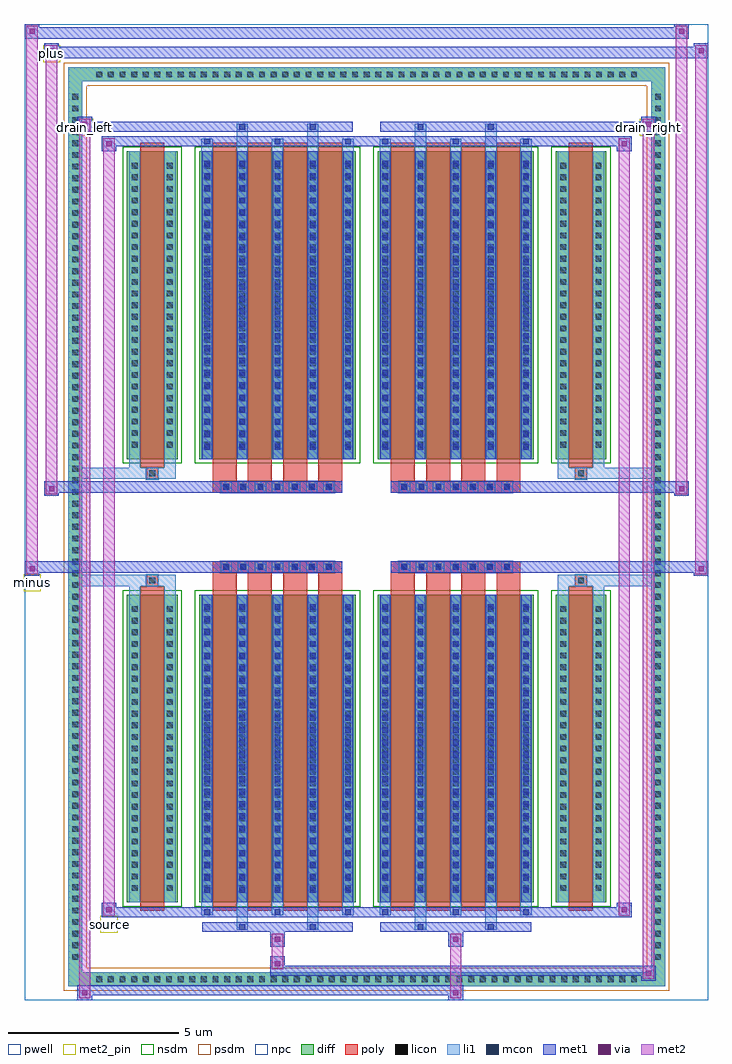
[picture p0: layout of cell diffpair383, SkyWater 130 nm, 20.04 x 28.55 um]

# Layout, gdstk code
import gdstk
lib = gdstk.Library(unit=1e-6, precision=5e-09)
def R(c, l, rs):  # rectangles x0, y0, x1, y1
    for r in rs: c.add(gdstk.rectangle(r[:2], r[2:], *l))
def A(c, l, x, y, w, h, nx, ny, dx, dy):  # array of equal rectangles
    R(c, l, [(x+i*dx, y+j*dy, x+i*dx+w, y+j*dy+h) for i in range(nx) for j in range(ny)])
def P(c, l, *ps):  # polygons
    for p in ps: c.add(gdstk.Polygon(p, *l))
pwell = (64, 44)
diff = (65, 20)
poly = (66, 20)
licon = (66, 44)
li1 = (67, 20)
mcon = (67, 44)
met1 = (68, 20)
via = (68, 44)
met2_pin = (69, 16)
met2 = (69, 20)
nsdm = (93, 44)
psdm = (94, 20)
npc = (95, 20)

diffpair383 = lib.new_cell('diffpair383')
R(diffpair383, pwell, [(-10,-13.84,10,14.71), (-7.32,-12.03,-0.01,-0.805), (0.01,-12.03,7.32,-0.805), (-7.32,0.805,-0.01,12.03), (0.01,0.805,7.32,12.03)])
A(diffpair383, diff, -8.025, -13.44, 0.41, 0.41, 47, 2, 0.34, 26.47)
A(diffpair383, diff, -8.73, -12.785, 0.41, 0.41, 1, 75, 0, 0.34)
A(diffpair383, diff, 8.32, -12.785, 0.41, 0.41, 1, 75, 0, 0.34)
R(diffpair383, diff, [(-8.025,-13.44,8.025,-13.03), (-8.73,-12.785,-8.32,12.785), (8.32,-12.785,8.73,12.785), (-7.01,-10.985,-5.53,-1.985), (-4.89,-10.985,-0.32,-1.985), (0.32,-10.985,4.89,-1.985), (5.53,-10.985,7.01,-1.985), (-7.01,1.985,-5.53,10.985), (-4.89,1.985,-0.32,10.985), (0.32,1.985,4.89,10.985), (5.53,1.985,7.01,10.985), (-8.025,13.03,8.025,13.44)])
P(diffpair383, diff, [(8.73,13.44),(-8.73,13.44),(-8.73,-13.03),(-8.32,-13.03),(-8.32,13.03),(8.32,13.03),(8.32,-13.03),(-8.32,-13.03),(-8.73,-13.03),(-8.73,-13.44),(8.73,-13.44)])
A(diffpair383, poly, -4.5, -11.235, 0.7, 9.5, 4, 2, 1.03, 12.97)
A(diffpair383, poly, 0.71, -11.235, 0.7, 9.5, 4, 2, 1.03, 12.97)
A(diffpair383, poly, -4.5, -1.735, 0.7, 0.4, 4, 2, 1.03, 3.07)
A(diffpair383, poly, 0.71, -1.735, 0.7, 0.4, 4, 2, 1.03, 3.07)
A(diffpair383, poly, -4.27, -1.335, 0.33, 0.33, 7, 2, 0.5, 2.34)
A(diffpair383, poly, 0.94, -1.335, 0.33, 0.33, 7, 2, 0.5, 2.34)
R(diffpair383, poly, [(-6.62,-11.235,-5.92,-1.735), (5.92,-11.235,6.62,-1.735), (-6.435,-1.735,-6.105,-1.405), (-6.435,-1.735,-6.105,-1.405), (6.105,-1.735,6.435,-1.405), (6.105,-1.735,6.435,-1.405), (-4.5,-1.335,-0.71,-1.005), (0.71,-1.335,4.5,-1.005), (-4.5,1.005,-0.71,1.335), (0.71,1.005,4.5,1.335), (-6.435,1.405,-6.105,1.735), (-6.435,1.405,-6.105,1.735), (6.105,1.405,6.435,1.735), (6.105,1.405,6.435,1.735), (-6.62,1.735,-5.92,11.235), (5.92,1.735,6.62,11.235)])
A(diffpair383, licon, -7.905, -13.32, 0.17, 0.17, 47, 2, 0.34, 26.47)
A(diffpair383, licon, -8.61, -12.665, 0.17, 0.17, 1, 75, 0, 0.34)
A(diffpair383, licon, 8.44, -12.665, 0.17, 0.17, 1, 75, 0, 0.34)
A(diffpair383, licon, -6.87, -10.65, 0.17, 0.17, 1, 25, 0, 0.34)
A(diffpair383, licon, -5.84, -10.65, 0.17, 0.17, 1, 25, 0, 0.34)
A(diffpair383, licon, -4.75, -10.65, 0.17, 0.17, 5, 25, 1.03, 0.34)
A(diffpair383, licon, 0.46, -10.65, 0.17, 0.17, 5, 25, 1.03, 0.34)
A(diffpair383, licon, 5.67, -10.65, 0.17, 0.17, 1, 25, 0, 0.34)
A(diffpair383, licon, 6.7, -10.65, 0.17, 0.17, 1, 25, 0, 0.34)
A(diffpair383, licon, -4.19, -1.255, 0.17, 0.17, 7, 2, 0.5, 2.34)
A(diffpair383, licon, 1.02, -1.255, 0.17, 0.17, 7, 2, 0.5, 2.34)
A(diffpair383, licon, -6.87, 2.32, 0.17, 0.17, 1, 25, 0, 0.34)
A(diffpair383, licon, -5.84, 2.32, 0.17, 0.17, 1, 25, 0, 0.34)
A(diffpair383, licon, -4.75, 2.32, 0.17, 0.17, 5, 25, 1.03, 0.34)
A(diffpair383, licon, 0.46, 2.32, 0.17, 0.17, 5, 25, 1.03, 0.34)
A(diffpair383, licon, 5.67, 2.32, 0.17, 0.17, 1, 25, 0, 0.34)
A(diffpair383, licon, 6.7, 2.32, 0.17, 0.17, 1, 25, 0, 0.34)
R(diffpair383, licon, [(-6.355,-1.655,-6.185,-1.485), (6.185,-1.655,6.355,-1.485), (-6.355,1.485,-6.185,1.655), (6.185,1.485,6.355,1.655)])
A(diffpair383, li1, -7.985, -13.4, 0.33, 0.33, 47, 2, 0.34, 26.47)
A(diffpair383, li1, -8.69, -12.745, 0.33, 0.33, 1, 75, 0, 0.34)
A(diffpair383, li1, 8.36, -12.745, 0.33, 0.33, 1, 75, 0, 0.34)
A(diffpair383, li1, -4.83, -11.36, 0.33, 0.375, 3, 2, 2.06, 22.345)
A(diffpair383, li1, -4.75, -11.36, 0.17, 0.17, 3, 2, 2.06, 22.55)
A(diffpair383, li1, 0.38, -11.36, 0.33, 0.375, 3, 2, 2.06, 22.345)
A(diffpair383, li1, 0.46, -11.36, 0.17, 0.17, 3, 2, 2.06, 22.55)
A(diffpair383, li1, -4.83, -10.985, 0.33, 9, 5, 2, 1.03, 12.97)
A(diffpair383, li1, 0.38, -10.985, 0.33, 9, 5, 2, 1.03, 12.97)
A(diffpair383, li1, -6.95, -10.73, 0.33, 0.33, 1, 25, 0, 0.34)
A(diffpair383, li1, -5.92, -10.73, 0.33, 0.33, 1, 25, 0, 0.34)
A(diffpair383, li1, -4.83, -10.73, 0.33, 0.33, 5, 25, 1.03, 0.34)
A(diffpair383, li1, 0.38, -10.73, 0.33, 0.33, 5, 25, 1.03, 0.34)
A(diffpair383, li1, 5.59, -10.73, 0.33, 0.33, 1, 25, 0, 0.34)
A(diffpair383, li1, 6.62, -10.73, 0.33, 0.33, 1, 25, 0, 0.34)
A(diffpair383, li1, -4.75, -10.71, 0.17, 0.17, 5, 24, 1.03, 0.36)
A(diffpair383, li1, -4.75, -10.71, 0.17, 8.45, 5, 2, 1.03, 12.97)
A(diffpair383, li1, 0.46, -10.71, 0.17, 0.17, 5, 24, 1.03, 0.36)
A(diffpair383, li1, 0.46, -10.71, 0.17, 8.45, 5, 2, 1.03, 12.97)
A(diffpair383, li1, -4.27, -1.335, 0.33, 0.33, 7, 2, 0.5, 2.34)
A(diffpair383, li1, 0.94, -1.335, 0.33, 0.33, 7, 2, 0.5, 2.34)
A(diffpair383, li1, -6.95, 2.24, 0.33, 0.33, 1, 25, 0, 0.34)
A(diffpair383, li1, -5.92, 2.24, 0.33, 0.33, 1, 25, 0, 0.34)
A(diffpair383, li1, -4.83, 2.24, 0.33, 0.33, 5, 25, 1.03, 0.34)
A(diffpair383, li1, 0.38, 2.24, 0.33, 0.33, 5, 25, 1.03, 0.34)
A(diffpair383, li1, 5.59, 2.24, 0.33, 0.33, 1, 25, 0, 0.34)
A(diffpair383, li1, 6.62, 2.24, 0.33, 0.33, 1, 25, 0, 0.34)
A(diffpair383, li1, -4.75, 2.26, 0.17, 0.17, 5, 24, 1.03, 0.36)
A(diffpair383, li1, 0.46, 2.26, 0.17, 0.17, 5, 24, 1.03, 0.36)
R(diffpair383, li1, [(-8.73,-13.44,-8.32,-13.03), (-8.73,-13.44,-8.32,-13.03), (-8.32,-13.44,8.32,-13.03), (8.32,-13.44,8.73,-13.03), (8.32,-13.44,8.73,-13.03), (-8.73,-13.03,-8.32,13.03), (8.32,-13.03,8.73,13.03), (-3.8,-11.79,-3.47,-10.985), (-3.72,-11.79,-3.55,-11.62), (-1.74,-11.79,-1.41,-10.985), (-1.66,-11.79,-1.49,-11.62), (1.41,-11.79,1.74,-10.985), (1.49,-11.79,1.66,-11.62), (3.47,-11.79,3.8,-10.985), (3.55,-11.79,3.72,-11.62), (-6.95,-10.985,-6.62,-1.985), (-5.92,-10.985,-5.59,-1.985), (5.59,-10.985,5.92,-1.985), (6.62,-10.985,6.95,-1.985), (-6.95,-1.985,-6.62,-1.405), (-5.92,-1.985,-5.59,-1.405), (5.59,-1.985,5.92,-1.405), (6.62,-1.985,6.95,-1.405), (-8.73,-1.735,-6.435,-1.405), (-6.95,-1.735,-6.435,-1.405), (-6.435,-1.735,-6.105,-1.405), (-6.105,-1.735,-5.59,-1.405), (5.59,-1.735,6.105,-1.405), (6.105,-1.735,6.435,-1.405), (6.105,-1.735,8.73,-1.405), (6.435,-1.735,6.95,-1.405), (-8.73,1.405,-6.435,1.735), (-6.95,1.405,-6.435,1.735), (-6.95,1.405,-6.62,1.985), (-6.435,1.405,-6.105,1.735), (-6.105,1.405,-5.59,1.735), (-5.92,1.405,-5.59,1.985), (5.59,1.405,6.105,1.735), (5.59,1.405,5.92,1.985), (6.105,1.405,6.435,1.735), (6.105,1.405,8.73,1.735), (6.435,1.405,6.95,1.735), (6.62,1.405,6.95,1.985), (-6.95,1.985,-6.62,10.985), (-5.92,1.985,-5.59,10.985), (5.59,1.985,5.92,10.985), (6.62,1.985,6.95,10.985), (-3.8,10.985,-3.47,11.79), (-1.74,10.985,-1.41,11.79), (1.41,10.985,1.74,11.79), (3.47,10.985,3.8,11.79), (-3.72,11.62,-3.55,11.79), (-1.66,11.62,-1.49,11.79), (1.49,11.62,1.66,11.79), (3.55,11.62,3.72,11.79), (-8.73,13.03,-8.32,13.44), (-8.73,13.03,-8.32,13.44), (-8.32,13.03,8.32,13.44), (8.32,13.03,8.73,13.44), (8.32,13.03,8.73,13.44)])
A(diffpair383, mcon, -4.75, -11.36, 0.17, 0.17, 3, 2, 2.06, 22.55)
A(diffpair383, mcon, 0.46, -11.36, 0.17, 0.17, 3, 2, 2.06, 22.55)
A(diffpair383, mcon, -4.75, -10.71, 0.17, 0.17, 5, 24, 1.03, 0.36)
A(diffpair383, mcon, 0.46, -10.71, 0.17, 0.17, 5, 24, 1.03, 0.36)
A(diffpair383, mcon, -4.19, -1.255, 0.17, 0.17, 7, 2, 0.5, 2.34)
A(diffpair383, mcon, 1.02, -1.255, 0.17, 0.17, 7, 2, 0.5, 2.34)
A(diffpair383, mcon, -4.75, 2.26, 0.17, 0.17, 5, 24, 1.03, 0.36)
A(diffpair383, mcon, 0.46, 2.26, 0.17, 0.17, 5, 24, 1.03, 0.36)
R(diffpair383, mcon, [(-3.72,-11.79,-3.55,-11.62), (-1.66,-11.79,-1.49,-11.62), (1.49,-11.79,1.66,-11.62), (3.55,-11.79,3.72,-11.62), (-3.72,11.62,-3.55,11.79), (-1.66,11.62,-1.49,11.79), (1.49,11.62,1.66,11.79), (3.55,11.62,3.72,11.79)])
A(diffpair383, met1, -4.81, -11.42, 0.29, 0.29, 3, 2, 2.06, 22.55)
A(diffpair383, met1, 0.4, -11.42, 0.29, 0.29, 3, 2, 2.06, 22.55)
A(diffpair383, met1, -4.81, -10.985, 0.29, 9, 5, 2, 1.03, 12.97)
A(diffpair383, met1, 0.4, -10.985, 0.29, 9, 5, 2, 1.03, 12.97)
A(diffpair383, met1, -4.81, -10.77, 0.29, 0.29, 5, 24, 1.03, 0.36)
A(diffpair383, met1, 0.4, -10.77, 0.29, 0.29, 5, 24, 1.03, 0.36)
A(diffpair383, met1, -4.25, -1.315, 0.29, 0.29, 7, 2, 0.5, 2.34)
A(diffpair383, met1, 0.96, -1.315, 0.29, 0.29, 7, 2, 0.5, 2.34)
A(diffpair383, met1, -4.81, 2.2, 0.29, 0.29, 5, 24, 1.03, 0.36)
A(diffpair383, met1, 0.4, 2.2, 0.29, 0.29, 5, 24, 1.03, 0.36)
R(diffpair383, met1, [(-8.46,-13.84,-8.03,-13.41), (2.39,-13.84,2.82,-13.41), (-8.46,-13.7,2.82,-13.41), (8.03,-13.27,8.46,-12.84), (-2.82,-13.13,8.46,-12.84), (-2.82,-12.99,-2.39,-12.56), (-2.82,-12.28,-2.39,-11.85), (2.39,-12.28,2.82,-11.85), (-4.81,-11.85,-0.4,-11.56), (-3.78,-11.85,-3.49,-11.56), (-1.72,-11.85,-1.43,-11.56), (0.4,-11.85,4.81,-11.56), (1.43,-11.85,1.72,-11.56), (3.49,-11.85,3.78,-11.56), (-7.75,-11.42,-7.32,-10.99), (-7.75,-11.42,-4.81,-11.13), (-4.81,-11.42,-0.4,-11.13), (-0.4,-11.42,0.4,-11.13), (0.4,-11.42,4.81,-11.13), (4.81,-11.42,7.75,-11.13), (7.32,-11.42,7.75,-10.99), (-10,-1.435,-9.57,-1.005), (9.57,-1.435,10,-1.005), (-10,-1.335,-0.71,-1.005), (-4.5,-1.335,-0.71,-1.005), (0.71,-1.335,4.5,-1.005), (0.71,-1.335,10,-1.005), (-9.43,0.905,-9,1.335), (9,0.905,9.43,1.335), (-9.43,1.005,-4.5,1.335), (-4.5,1.005,-0.71,1.335), (0.71,1.005,4.5,1.335), (4.5,1.005,9.43,1.335), (-7.75,10.99,-7.32,11.42), (7.32,10.99,7.75,11.42), (-7.75,11.13,-4.81,11.42), (-4.81,11.13,-0.4,11.42), (-0.4,11.13,0.4,11.42), (0.4,11.13,4.81,11.42), (4.81,11.13,7.75,11.42), (-8.46,11.56,-8.03,11.99), (-8.46,11.56,-4.81,11.85), (-4.81,11.56,-0.4,11.85), (-3.78,11.56,-3.49,11.85), (-1.72,11.56,-1.43,11.85), (0.4,11.56,4.81,11.85), (1.43,11.56,1.72,11.85), (3.49,11.56,3.78,11.85), (4.81,11.56,8.46,11.85), (8.03,11.56,8.46,11.99), (-9.43,13.71,-9,14.14), (-9.43,13.71,-7.32,14.04), (-7.32,13.71,7.32,14.04), (7.32,13.71,10,14.04), (9.57,13.71,10,14.14), (-10,14.28,-9.57,14.71), (-10,14.28,-7.32,14.61), (-7.32,14.28,7.32,14.61), (7.32,14.28,9.43,14.61), (9,14.28,9.43,14.71)])
R(diffpair383, via, [(-8.32,-13.7,-8.17,-13.55), (2.53,-13.7,2.68,-13.55), (8.17,-13.13,8.32,-12.98), (-2.68,-12.85,-2.53,-12.7), (-2.68,-12.14,-2.53,-11.99), (2.53,-12.14,2.68,-11.99), (-7.61,-11.28,-7.46,-11.13), (7.46,-11.28,7.61,-11.13), (-9.86,-1.295,-9.71,-1.145), (9.71,-1.295,9.86,-1.145), (-9.29,1.045,-9.14,1.195), (9.14,1.045,9.29,1.195), (-7.61,11.13,-7.46,11.28), (7.46,11.13,7.61,11.28), (-8.32,11.7,-8.17,11.85), (8.17,11.7,8.32,11.85), (-9.29,13.85,-9.14,14), (9.71,13.85,9.86,14), (-9.86,14.42,-9.71,14.57), (9.14,14.42,9.29,14.57)])
R(diffpair383, met2_pin, [(-7.785,-11.87,-7.285,-11.37), (-10.035,-1.885,-9.535,-1.385), (-8.495,11.44,-7.995,11.94), (7.995,11.44,8.495,11.94), (-9.465,13.59,-8.965,14.09)])
R(diffpair383, met2, [(-8.41,-13.79,-8.08,-13.46), (-8.41,-13.79,-8.08,11.94), (2.44,-13.79,2.77,-13.46), (2.44,-13.46,2.77,-12.23), (8.08,-13.22,8.41,-12.89), (8.08,-13.22,8.41,11.94), (-2.77,-12.94,-2.44,-12.61), (-2.77,-12.61,-2.44,-12.23), (-2.77,-12.23,-2.44,-11.9), (2.44,-12.23,2.77,-11.9), (-7.7,-11.37,-7.37,-11.04), (-7.7,-11.37,-7.37,11.37), (7.37,-11.37,7.7,-11.04), (7.37,-11.37,7.7,11.37), (-9.95,-1.385,-9.62,-1.055), (-9.95,-1.385,-9.62,14.66), (9.62,-1.385,9.95,-1.055), (9.62,-1.385,9.95,14.09), (-9.38,0.955,-9.05,1.285), (-9.38,0.955,-9.05,14.09), (9.05,0.955,9.38,1.285), (9.05,0.955,9.38,14.66), (-7.7,11.04,-7.37,11.37), (7.37,11.04,7.7,11.37), (-8.41,11.61,-8.08,11.94), (8.08,11.61,8.41,11.94), (-9.38,13.76,-9.05,14.09), (9.62,13.76,9.95,14.09), (-9.95,14.33,-9.62,14.66), (9.05,14.33,9.38,14.66)])
P(diffpair383, met2, [(9.95,-1.385),(9.95,-1.385),(9.95,-1.055),(9.95,-1.055)],
  [(9.95,13.76),(9.95,13.76),(9.95,14.09),(9.95,14.09)],
  [(-9.62,-1.385),(-9.62,-1.385),(-9.62,-1.055),(-9.62,-1.055)],
  [(-9.62,14.33),(-9.62,14.33),(-9.62,14.66),(-9.62,14.66)],
  [(9.38,0.955),(9.38,0.955),(9.38,1.285),(9.38,1.285)],
  [(9.38,14.33),(9.38,14.33),(9.38,14.66),(9.38,14.66)],
  [(-9.05,0.955),(-9.05,0.955),(-9.05,1.285),(-9.05,1.285)],
  [(-9.05,13.76),(-9.05,13.76),(-9.05,14.09),(-9.05,14.09)],
  [(-8.08,-13.79),(-8.08,-13.79),(-8.08,-13.46),(-8.08,-13.46)],
  [(-8.08,11.61),(-8.08,11.61),(-8.08,11.94),(-8.08,11.94)],
  [(8.41,-13.22),(8.41,-13.22),(8.41,-12.89),(8.41,-12.89)],
  [(8.41,11.61),(8.41,11.61),(8.41,11.94),(8.41,11.94)],
  [(-7.37,-11.37),(-7.37,-11.37),(-7.37,-11.04),(-7.37,-11.04)],
  [(-7.37,11.04),(-7.37,11.04),(-7.37,11.37),(-7.37,11.37)],
  [(7.7,-11.37),(7.7,-11.37),(7.7,-11.04),(7.7,-11.04)],
  [(7.7,11.04),(7.7,11.04),(7.7,11.37),(7.7,11.37)])
R(diffpair383, nsdm, [(-7.14,-11.115,-5.4,-1.855), (-5.02,-11.115,-0.19,-1.855), (0.19,-11.115,5.02,-1.855), (5.4,-11.115,7.14,-1.855), (-7.14,1.855,-5.4,11.115), (-5.02,1.855,-0.19,11.115), (0.19,1.855,5.02,11.115), (5.4,1.855,7.14,11.115)])
P(diffpair383, psdm, [(8.86,13.57),(-8.86,13.57),(-8.86,-12.9),(-8.19,-12.9),(-8.19,12.9),(8.19,12.9),(8.19,-12.9),(-8.19,-12.9),(-8.86,-12.9),(-8.86,-13.57),(8.86,-13.57)])
A(diffpair383, npc, -4.29, -1.355, 0.37, 0.37, 7, 2, 0.5, 2.34)
A(diffpair383, npc, 0.92, -1.355, 0.37, 0.37, 7, 2, 0.5, 2.34)
R(diffpair383, npc, [(-6.455,-1.755,-6.085,-1.385), (6.085,-1.755,6.455,-1.385), (-4.29,-1.355,-3.42,-0.985), (-4.29,-1.355,-3.42,-0.985), (-3.79,-1.355,-2.92,-0.985), (-3.79,-1.355,-2.92,-0.985), (-3.29,-1.355,-2.42,-0.985), (-3.29,-1.355,-2.42,-0.985), (-2.79,-1.355,-1.92,-0.985), (-2.79,-1.355,-1.92,-0.985), (-2.29,-1.355,-1.42,-0.985), (-2.29,-1.355,-1.42,-0.985), (-1.79,-1.355,-0.92,-0.985), (-1.79,-1.355,-0.92,-0.985), (0.92,-1.355,1.79,-0.985), (0.92,-1.355,1.79,-0.985), (1.42,-1.355,2.29,-0.985), (1.42,-1.355,2.29,-0.985), (1.92,-1.355,2.79,-0.985), (1.92,-1.355,2.79,-0.985), (2.42,-1.355,3.29,-0.985), (2.42,-1.355,3.29,-0.985), (2.92,-1.355,3.79,-0.985), (2.92,-1.355,3.79,-0.985), (3.42,-1.355,4.29,-0.985), (3.42,-1.355,4.29,-0.985), (-4.29,0.985,-3.42,1.355), (-4.29,0.985,-3.42,1.355), (-3.79,0.985,-2.92,1.355), (-3.79,0.985,-2.92,1.355), (-3.29,0.985,-2.42,1.355), (-3.29,0.985,-2.42,1.355), (-2.79,0.985,-1.92,1.355), (-2.79,0.985,-1.92,1.355), (-2.29,0.985,-1.42,1.355), (-2.29,0.985,-1.42,1.355), (-1.79,0.985,-0.92,1.355), (-1.79,0.985,-0.92,1.355), (0.92,0.985,1.79,1.355), (0.92,0.985,1.79,1.355), (1.42,0.985,2.29,1.355), (1.42,0.985,2.29,1.355), (1.92,0.985,2.79,1.355), (1.92,0.985,2.79,1.355), (2.42,0.985,3.29,1.355), (2.42,0.985,3.29,1.355), (2.92,0.985,3.79,1.355), (2.92,0.985,3.79,1.355), (3.42,0.985,4.29,1.355), (3.42,0.985,4.29,1.355), (-6.455,1.385,-6.085,1.755), (6.085,1.385,6.455,1.755)])
diffpair383.add(gdstk.Label('minus', (-9.785,-1.635), layer=69, texttype=5))
diffpair383.add(gdstk.Label('drain_right', (8.245,11.69), layer=69, texttype=5))
diffpair383.add(gdstk.Label('drain_left', (-8.245,11.69), layer=69, texttype=5))
diffpair383.add(gdstk.Label('source', (-7.535,-11.62), layer=69, texttype=5))
diffpair383.add(gdstk.Label('plus', (-9.215,13.84), layer=69, texttype=5))

lib.write_gds('diffpair383.gds')
